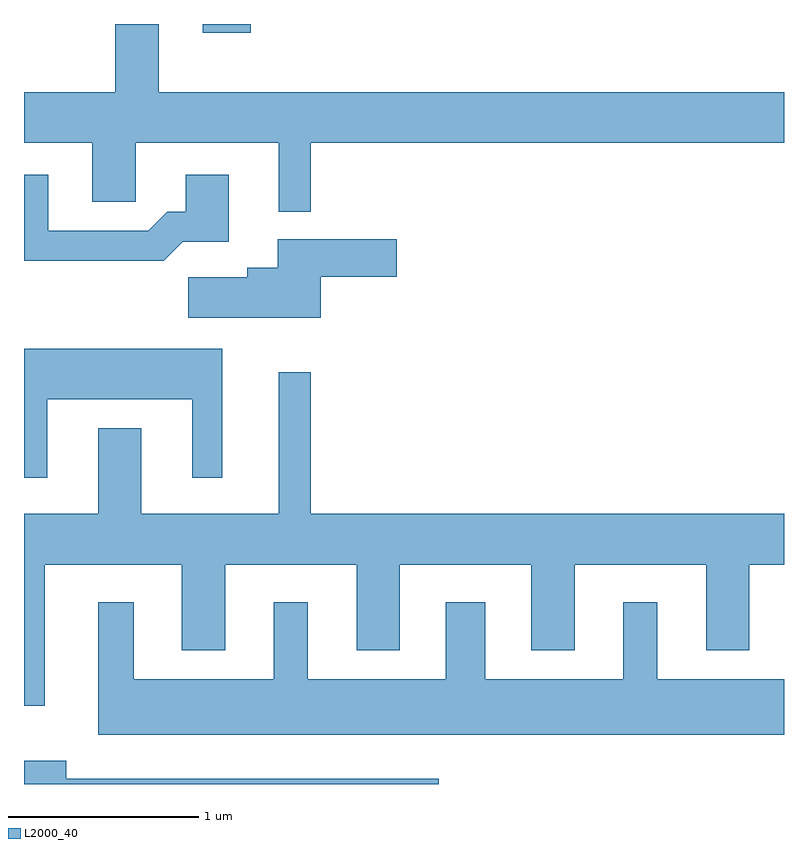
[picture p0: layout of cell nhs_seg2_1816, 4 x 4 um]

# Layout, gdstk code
import gdstk
lib = gdstk.Library(unit=1e-6, precision=1e-09)
def R(c, l, rs):  # rectangles x0, y0, x1, y1
    for r in rs: c.add(gdstk.rectangle(r[:2], r[2:], *l))
def P(c, l, *ps):  # polygons
    for p in ps: c.add(gdstk.Polygon(p, *l))
L2000_40 = (2000, 40)

nhs_seg2_1816 = lib.new_cell('nhs_seg2_1816')
R(nhs_seg2_1816, L2000_40, [(238.551,1077.756,238.804,1077.802)])
P(nhs_seg2_1816, L2000_40, [(239.119,1077.176),(241.611,1077.176),(241.611,1077.444),(238.319,1077.444),(238.319,1077.802),(238.091,1077.802),(238.091,1077.444),(237.611,1077.444),(237.611,1077.176),(237.971,1077.176),(237.971,1076.866),(238.199,1076.866),(238.199,1077.176),(238.951,1077.176),(238.951,1076.813),(239.119,1076.813)],
  [(238.447,1076.656),(238.689,1076.656),(238.689,1077.009),(238.461,1077.009),(238.461,1076.814),(238.364,1076.814),(238.264,1076.714),(237.739,1076.714),(237.739,1077.009),(237.611,1077.009),(237.611,1076.556),(238.347,1076.556)],
  [(239.174,1076.471),(239.574,1076.471),(239.574,1076.669),(238.946,1076.669),(238.946,1076.519),(238.786,1076.519),(238.786,1076.469),(238.476,1076.469),(238.476,1076.256),(239.174,1076.256)],
  [(237.734,1075.826),(238.496,1075.826),(238.496,1075.413),(238.654,1075.413),(238.654,1076.094),(237.611,1076.094),(237.611,1075.413),(237.734,1075.413)],
  [(239.119,1075.968),(238.951,1075.968),(238.951,1075.224),(238.229,1075.224),(238.229,1075.674),(238.001,1075.674),(238.001,1075.224),(237.611,1075.224),(237.611,1074.213),(237.719,1074.213),(237.719,1074.956),(238.441,1074.956),(238.441,1074.506),(238.669,1074.506),(238.669,1074.956),(239.361,1074.956),(239.361,1074.506),(239.589,1074.506),(239.589,1074.956),(240.281,1074.956),(240.281,1074.506),(240.509,1074.506),(240.509,1074.956),(241.201,1074.956),(241.201,1074.506),(241.429,1074.506),(241.429,1074.956),(241.611,1074.956),(241.611,1075.224),(239.119,1075.224)],
  [(241.611,1074.354),(240.944,1074.354),(240.944,1074.759),(240.766,1074.759),(240.766,1074.354),(240.039,1074.354),(240.039,1074.759),(239.831,1074.759),(239.831,1074.354),(239.104,1074.354),(239.104,1074.759),(238.926,1074.759),(238.926,1074.354),(238.189,1074.354),(238.189,1074.759),(238.001,1074.759),(238.001,1074.061),(241.611,1074.061)],
  [(239.793,1073.829),(237.834,1073.829),(237.834,1073.924),(237.611,1073.924),(237.611,1073.802),(239.793,1073.802)])

lib.write_gds('nhs_seg2_1816.gds')
